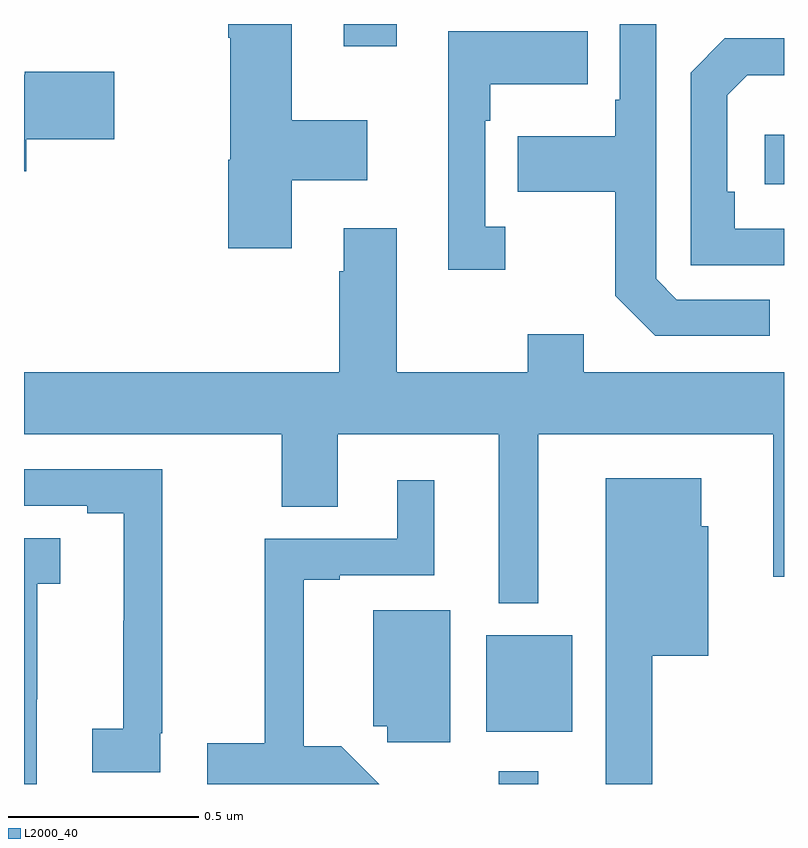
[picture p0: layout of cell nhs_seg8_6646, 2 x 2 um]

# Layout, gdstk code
import gdstk
lib = gdstk.Library(unit=1e-6, precision=1e-09)
def R(c, l, rs):  # rectangles x0, y0, x1, y1
    for r in rs: c.add(gdstk.rectangle(r[:2], r[2:], *l))
def P(c, l, *ps):  # polygons
    for p in ps: c.add(gdstk.Polygon(p, *l))
L2000_40 = (2000, 40)

nhs_seg8_6646 = lib.new_cell('nhs_seg8_6646')
R(nhs_seg8_6646, L2000_40, [(200.249,1128.9,200.353,1128.934), (200.216,1129.037,200.443,1129.291), (200.949,1130.478,201,1130.608), (199.841,1130.841,199.981,1130.9)])
P(nhs_seg8_6646, L2000_40, [(200.962,1130.175),(200.718,1130.175),(200.664,1130.229),(200.664,1130.9),(200.568,1130.9),(200.568,1130.701),(200.556,1130.701),(200.556,1130.605),(200.299,1130.605),(200.299,1130.458),(200.556,1130.458),(200.556,1130.185),(200.661,1130.079),(200.962,1130.079)],
  [(199.705,1130.489),(199.903,1130.489),(199.903,1130.647),(199.705,1130.647),(199.705,1130.9),(199.538,1130.9),(199.538,1130.864),(199.543,1130.864),(199.543,1130.543),(199.538,1130.543),(199.538,1130.31),(199.705,1130.31)],
  [(200.266,1130.366),(200.214,1130.366),(200.214,1130.645),(200.227,1130.645),(200.227,1130.741),(200.483,1130.741),(200.483,1130.881),(200.117,1130.881),(200.117,1130.253),(200.266,1130.253)],
  [(201,1130.361),(200.87,1130.361),(200.87,1130.458),(200.85,1130.458),(200.85,1130.712),(200.903,1130.765),(201,1130.765),(201,1130.862),(200.844,1130.862),(200.754,1130.772),(200.754,1130.265),(201,1130.265)],
  [(199.006,1130.597),(199.237,1130.597),(199.237,1130.775),(199.002,1130.775),(199.002,1130.767),(199,1130.767),(199,1130.513),(199.006,1130.513)],
  [(200.353,1129.82),(200.972,1129.82),(200.972,1129.446),(201,1129.446),(201,1129.984),(200.473,1129.984),(200.473,1130.083),(200.326,1130.083),(200.326,1129.984),(199.981,1129.984),(199.981,1130.362),(199.841,1130.362),(199.841,1130.249),(199.829,1130.249),(199.829,1129.984),(199,1129.984),(199,1129.82),(199.678,1129.82),(199.678,1129.63),(199.825,1129.63),(199.825,1129.82),(200.249,1129.82),(200.249,1129.376),(200.353,1129.376)],
  [(199.358,1129.033),(199.364,1129.033),(199.364,1129.728),(199,1129.728),(199,1129.632),(199.166,1129.632),(199.166,1129.612),(199.262,1129.612),(199.262,1129.329),(199.261,1129.329),(199.261,1129.046),(199.179,1129.046),(199.179,1128.931),(199.358,1128.931)],
  [(200.653,1129.238),(200.8,1129.238),(200.8,1129.578),(200.782,1129.578),(200.782,1129.705),(200.531,1129.705),(200.531,1128.9),(200.653,1128.9)],
  [(199.835,1129),(199.736,1129),(199.736,1129.437),(199.831,1129.437),(199.831,1129.449),(200.08,1129.449),(200.08,1129.699),(199.982,1129.699),(199.982,1129.545),(199.633,1129.545),(199.633,1129.007),(199.482,1129.007),(199.482,1128.9),(199.935,1128.9)],
  [(199.033,1129.123),(199.035,1129.123),(199.035,1129.427),(199.096,1129.427),(199.096,1129.547),(199,1129.547),(199,1128.9),(199.033,1128.9)],
  [(200.122,1129.357),(199.919,1129.357),(199.919,1129.052),(199.956,1129.052),(199.956,1129.01),(200.122,1129.01)])

lib.write_gds('nhs_seg8_6646.gds')
